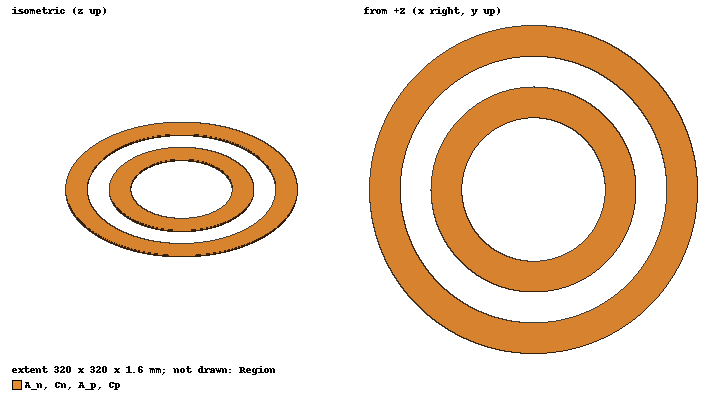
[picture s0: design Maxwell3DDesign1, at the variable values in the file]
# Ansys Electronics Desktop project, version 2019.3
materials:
  vacuum: permittivity=1
  copper: permeability=0.999991 conductivity=58000000

design Maxwell3DDesign1 (Maxwell 3D, Magnetostatic, model units mm)
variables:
  inner_outer = 100mm
  inner = 70mm
  condcutor_height = 0.8mm
  full_angle = 360deg
  outer_inner = 130mm
  outer = 160mm
  Mag = 10A
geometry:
  A_p [copper] = rectangle(corner=(0mm, -inner_outer, 0mm), y_size=inner_outer-inner, z_size=condcutor_height)
  A_p.sweep_around_axis(axis=Z, angle=full_angle)
  A_n [copper] = rectangle(corner=(0mm, -outer_inner, 0mm), y_size=outer_inner-outer, z_size=condcutor_height)
  A_n.sweep_around_axis(axis=Z, angle=full_angle)
  coordinate_system RelativeCS1 = origin=(0mm, 0mm, 1mm) x=(1mm, 0mm, 0mm) y=(0mm, 1mm, 0mm)
  B_n [copper] = A_n.duplicate_mirror(point=(0mm, 0mm, 0mm), normal=(0mm, 0mm, 100mm))
  B_p [copper] = A_p.duplicate_mirror(point=(0mm, 0mm, 0mm), normal=(0mm, 0mm, 10mm))
  Cn [copper] = A_n.duplicate_mirror(point=(0mm, 0mm, 0mm), normal=(0mm, 0mm, -10mm))
  Cp [copper] = A_p.duplicate_mirror(point=(0mm, 0mm, 0mm), normal=(0mm, 0mm, -1mm))
  A_n_Section1 [copper] = A_n.section(plane=YZ)
  A_p_Section1 [copper] = A_p.section(plane=YZ)
  B_n_Section1 [copper] = B_n.section(plane=YZ)
  B_p_Section1 [copper] = B_p.section(plane=YZ)
  Cn_Section1 [copper] = Cn.section(plane=YZ)
  Cp_Section1 [copper] = Cp.section(plane=YZ)
  A_n_Section1.separate_bodies()
  A_p_Section1.separate_bodies()
  B_n_Section1.separate_bodies()
  B_p_Section1.separate_bodies()
  Cn_Section1.separate_bodies()
  Cp_Section1.separate_bodies()
  Region [vacuum] = region(percentage_offset: +X=400, -X=400, +Y=400, -Y=400, +Z=100, -Z=100)
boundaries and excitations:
  Insulating1: Insulating Objects=A_p
  Insulating2: Insulating Objects=A_n
  Insulating3: Insulating Objects=B_p
  Insulating4: Insulating Objects=B_n
  Insulating5: Insulating Objects=Cp
  Insulating6: Insulating Objects=Cn
  A_p: Current Objects=A_p_Section1 Current=-0.5*Mag IsSolid=false Point_out_of_terminal=false
  A_n: Current Objects=A_n_Section1 Current=0.5*Mag IsSolid=false Point_out_of_terminal=false
  B-p: Current Objects=B_p_Section1 Current=Mag IsSolid=false Point_out_of_terminal=false
  B_n: Current Objects=B_n_Section1 Current=-Mag IsSolid=false Point_out_of_terminal=false
  C-p: Current Objects=Cp_Section1 Current=-0.5*Mag IsSolid=false Point_out_of_terminal=false
  C_n: Current Objects=Cn_Section1 Current=0.5*Mag IsSolid=false Point_out_of_terminal=false
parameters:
  Matrix1: Matrix A_n, A_p, B_n, B-p: NumberOfTurns=1; group phase_A = A_n, A_p (1 parallel); group phase_B = B_n, B-p (1 parallel)
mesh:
  initial mesh: GlobalCurvilinear{Apply}
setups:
  Setup1: Magnetostatic MaximumPasses=10 MinimumPasses=2 MinimumConvergedPasses=1 PercentRefinement=30 PercentError=1 NonLinearResidual=0.001
